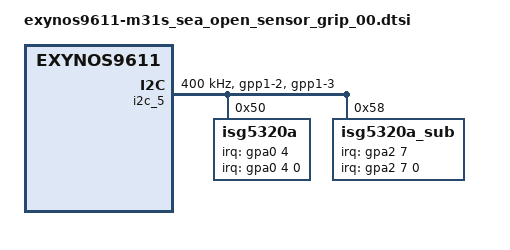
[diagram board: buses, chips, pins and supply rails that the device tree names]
/*
 * SAMSUNG EXYNOS850 board device tree source
 *
 * Copyright (c) 2019 Samsung Electronics Co., Ltd.
 *		http://www.samsung.com
 *
 * This program is free software; you can redistribute it and/or modify
 * it under the terms of the GNU General Public License version 2 as
 * published by the Free Software Foundation.
 */

&i2c_5 {
	#address-cells = <1>;
	#size-cells = <0>;
	status = "okay";
	clock-frequency = <400000>;
	samsung,reset-before-trans;
	pinctrl-names = "default";
	pinctrl-0 = <&grip_i2c>;

	isg5320a@50 {
		compatible = "isg5320a";
		pinctrl-names = "default";
		pinctrl-0 = <&grip_int>;
		reg = <0x50>;
		status = "okay";
		interrupt-parent = <&gpa0>;
		interrupts = <4 0 0>;
		isg5320a,irq-gpio = <&gpa0 4 0x00>;
		isg5320a,hallic_detect = <0>;
		isg5320a,hallic_cert_detect = <0>;
	};

	isg5320a_sub@58 {
		compatible = "isg5320a_sub";
		pinctrl-names = "default";
		pinctrl-0 = <&grip_sub_int>;
		reg = <0x58>;
		status = "okay";
		interrupt-parent = <&gpa2>;
		interrupts = <7 0 0>;
		isg5320a_sub,irq-gpio = <&gpa2 7 0x00>;
		isg5320a_sub,hallic_detect = <0>;
		isg5320a_sub,hallic_cert_detect = <0>;
	};
};

&pinctrl_0 {
	grip_int: grip-int {
		samsung,pins = "gpa0-4";
		samsung,pin-function = <0xf>;
		samsung,pin-pud = <0>;
	};

	grip_i2c: grip-i2c {
		samsung,pins = "gpp1-2", "gpp1-3";
		samsung,pin-function = <3>;
		samsung,pin-pud = <0>;
		samsung,pin-drv = <0>;
	};

	grip_sub_int: grip-sub-int {
		samsung,pins = "gpa2-7";
		samsung,pin-function = <0xf>;
		samsung,pin-pud = <0>;
	};
};
